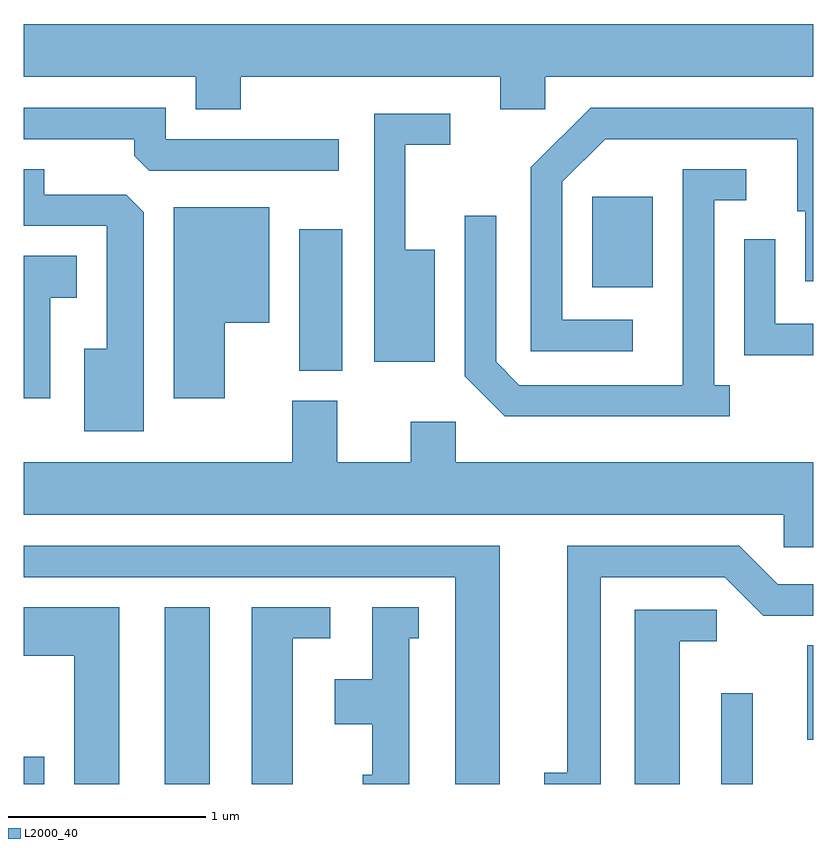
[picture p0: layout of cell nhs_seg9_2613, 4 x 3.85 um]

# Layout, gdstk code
import gdstk
lib = gdstk.Library(unit=1e-6, precision=1e-09)
def R(c, l, rs):  # rectangles x0, y0, x1, y1
    for r in rs: c.add(gdstk.rectangle(r[:2], r[2:], *l))
def P(c, l, *ps):  # polygons
    for p in ps: c.add(gdstk.Polygon(p, *l))
L2000_40 = (2000, 40)

nhs_seg9_2613 = lib.new_cell('nhs_seg9_2613')
R(nhs_seg9_2613, L2000_40, [(261.611,2010.432,261.714,2010.569), (262.326,2010.432,262.554,2011.329), (265.146,2010.432,265.304,2010.893), (265.581,2010.656,265.611,2011.134), (263.006,2012.526,263.224,2013.244), (264.491,2012.951,264.799,2013.409)])
P(nhs_seg9_2613, L2000_40, [(262.709,2014.016),(264.026,2014.016),(264.026,2013.851),(264.254,2013.851),(264.254,2014.016),(265.611,2014.016),(265.611,2014.284),(261.611,2014.284),(261.611,2014.016),(262.481,2014.016),(262.481,2013.851),(262.709,2013.851)],
  [(263.208,2013.699),(262.329,2013.699),(262.329,2013.859),(261.611,2013.859),(261.611,2013.701),(262.171,2013.701),(262.171,2013.617),(262.247,2013.541),(263.208,2013.541)],
  [(264.698,2012.784),(264.339,2012.784),(264.339,2013.484),(264.557,2013.701),(265.531,2013.701),(265.531,2013.336),(265.571,2013.336),(265.571,2012.981),(265.611,2012.981),(265.611,2013.859),(264.484,2013.859),(264.181,2013.557),(264.181,2012.626),(264.698,2012.626)],
  [(263.694,2013.139),(263.544,2013.139),(263.544,2013.671),(263.773,2013.671),(263.773,2013.829),(263.386,2013.829),(263.386,2012.571),(263.694,2012.571)],
  [(265.188,2012.454),(265.109,2012.454),(265.109,2013.391),(265.273,2013.391),(265.273,2013.549),(264.951,2013.549),(264.951,2012.454),(264.122,2012.454),(264.004,2012.572),(264.004,2013.313),(263.846,2013.313),(263.846,2012.499),(264.049,2012.296),(265.188,2012.296)],
  [(262.219,2013.329),(262.129,2013.419),(261.714,2013.419),(261.714,2013.549),(261.611,2013.549),(261.611,2013.261),(262.031,2013.261),(262.031,2012.639),(261.916,2012.639),(261.916,2012.221),(262.219,2012.221)],
  [(262.629,2012.771),(262.854,2012.771),(262.854,2013.354),(262.371,2013.354),(262.371,2012.386),(262.629,2012.386)],
  [(265.611,2012.764),(265.419,2012.764),(265.419,2013.193),(265.261,2013.193),(265.261,2012.606),(265.611,2012.606)],
  [(261.744,2012.896),(261.879,2012.896),(261.879,2013.109),(261.611,2013.109),(261.611,2012.386),(261.744,2012.386)],
  [(265.611,2012.064),(263.799,2012.064),(263.799,2012.269),(263.571,2012.269),(263.571,2012.064),(263.199,2012.064),(263.199,2012.374),(262.971,2012.374),(262.971,2012.064),(261.611,2012.064),(261.611,2011.796),(265.461,2011.796),(265.461,2011.631),(265.611,2011.631)],
  [(264.024,2011.639),(261.611,2011.639),(261.611,2011.481),(263.796,2011.481),(263.796,2010.432),(264.024,2010.432)],
  [(264.534,2011.481),(265.164,2011.481),(265.359,2011.286),(265.611,2011.286),(265.611,2011.444),(265.432,2011.444),(265.237,2011.639),(264.366,2011.639),(264.366,2010.489),(264.248,2010.489),(264.248,2010.432),(264.534,2010.432)],
  [(263.564,2011.171),(263.613,2011.171),(263.613,2011.329),(263.376,2011.329),(263.376,2010.964),(263.186,2010.964),(263.186,2010.736),(263.376,2010.736),(263.376,2010.479),(263.328,2010.479),(263.328,2010.432),(263.564,2010.432)],
  [(262.094,2011.329),(261.611,2011.329),(261.611,2011.081),(261.866,2011.081),(261.866,2010.432),(262.094,2010.432)],
  [(262.974,2011.171),(263.163,2011.171),(263.163,2011.329),(262.766,2011.329),(262.766,2010.432),(262.974,2010.432)],
  [(264.934,2011.156),(265.123,2011.156),(265.123,2011.314),(264.706,2011.314),(264.706,2010.432),(264.934,2010.432)])

lib.write_gds('nhs_seg9_2613.gds')
